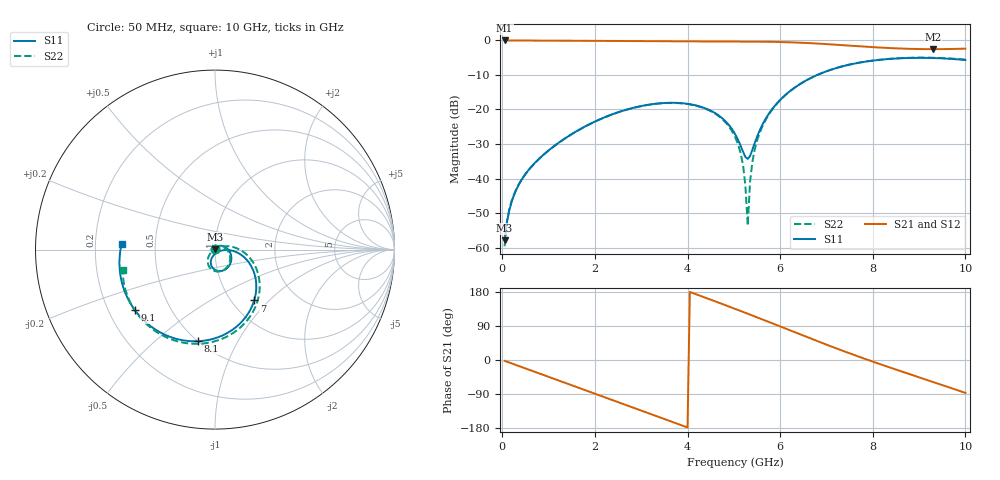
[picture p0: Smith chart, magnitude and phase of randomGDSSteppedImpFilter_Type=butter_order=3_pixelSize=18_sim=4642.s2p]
! freq	dB(S11)	phase(S11)	dB(S12)	phase(S12)
!  dB(S21)	phase(S21)	dB(S22)	phase(S22)
!S-par simulation data
#  GHz  S  DB  R 50
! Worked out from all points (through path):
!   200 points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, 50 MHz to 10 GHz, reference 50 ohm
!   highest |S21| = 0.00 dB at 50 MHz (marker M1); lowest = -2.5 dB at 9.3 GHz (marker M2)
!   group delay of S21, straight-line fit = 126 ps
!   lowest |S11| = -57.9 dB at 50 MHz (marker M3), VSWR 1.00, Z = 50 + j0.119 ohm
!   |S11| at or under -10 dB: start of sweep to 6.801 GHz
!   |S22| runs from -59.6 to -5.0 dB; largest |S21 - S12| = 0
!   S11 on the Smith chart (normalised r, x): 50 MHz: 1.00, +0.00; 7 GHz: 1.26, -0.82; 8.1 GHz: 0.50, -0.70; 9.1 GHz: 0.31, -0.30; 10 GHz: 0.32, +0.03
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0.05  -57.91 68.7  -0.00 -2.3  -0.00 -2.3  -59.58 68.7
0.15  -49.29 76.9  -0.02 -6.7  -0.02 -6.7  -48.93 77.2
0.45  -39.68 70.0  -0.03 -20.0  -0.03 -20.0  -39.63 67.6
1.75  -25.18 17.1  -0.10 -77.7  -0.10 -77.7  -25.21 10.4
2.55  -20.58 -18.3  -0.17 -113.3  -0.17 -113.3  -20.61 -25.5
3.4  -18.20 -55.6  -0.25 -151.2  -0.25 -151.2  -18.25 -63.3
4.45  -20.02 -98.8  -0.31 161.5  -0.31 161.5  -20.14 -110.3
5.05  -27.69 -109.2  -0.32 133.9  -0.32 133.9  -28.67 -139.4
5.2  -32.26 -91.8  -0.32 126.9  -0.32 126.9  -36.27 -150.7
5.25  -33.74 -76.8  -0.33 124.5  -0.33 124.5  -42.20 -160.6
5.3  -34.32 -56.3  -0.33 122.1  -0.33 122.1  -53.63 108.8
5.35  -33.47 -35.8  -0.33 119.8  -0.33 119.8  -40.93 42.7
5.4  -31.71 -20.9  -0.34 117.4  -0.34 117.4  -35.19 34.1
5.6  -24.85 -2.2  -0.36 107.9  -0.36 107.9  -25.38 20.3
6.05  -16.56 -11.4  -0.47 86.2  -0.47 86.2  -16.62 -2.3
6.7  -10.62 -38.8  -0.82 54.8  -0.82 54.8  -10.63 -33.3
7  -8.93 -52.3  -1.05 40.5  -1.05 40.5  -8.93 -47.3
8.1  -5.68 -100.7  -2.02 -8.5  -2.02 -8.5  -5.65 -94.8
8.35  -5.37 -111.3  -2.20 -19.0  -2.20 -19.0  -5.33 -104.8
9.1  -5.04 -143.0  -2.51 -49.7  -2.51 -49.7  -4.98 -133.6
9.3  -5.09 -151.7  -2.53 -57.8  -2.53 -57.8  -5.01 -141.1
10  -5.67 176.3  -2.37 -86.9  -2.37 -86.9  -5.56 -167.4
